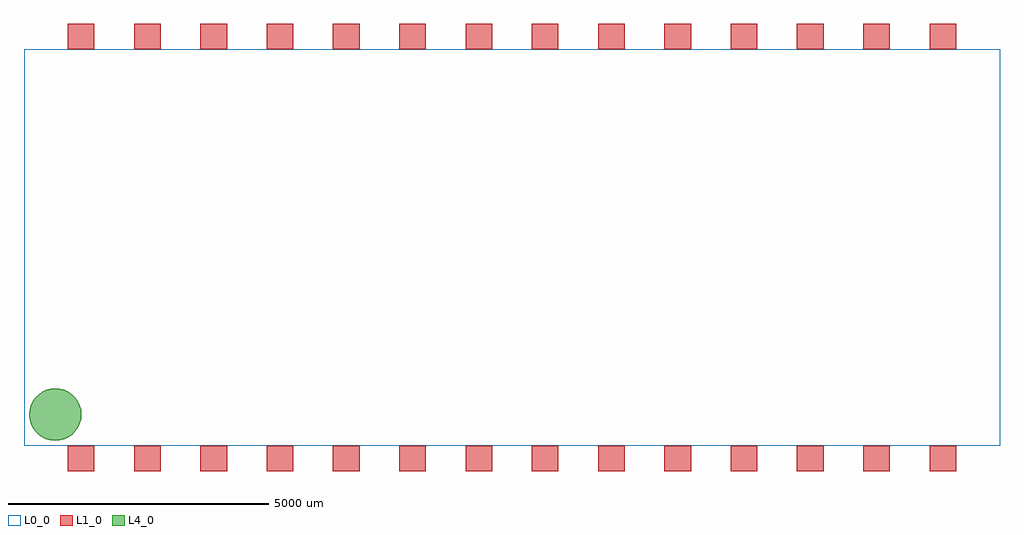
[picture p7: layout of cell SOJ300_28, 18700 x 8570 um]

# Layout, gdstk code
import gdstk
lib = gdstk.Library(unit=1e-6, precision=1e-09)
def R(c, l, rs):  # rectangles x0, y0, x1, y1
    for r in rs: c.add(gdstk.rectangle(r[:2], r[2:], *l))
def A(c, l, x, y, w, h, nx, ny, dx, dy):  # array of equal rectangles
    R(c, l, [(x+i*dx, y+j*dy, x+i*dx+w, y+j*dy+h) for i in range(nx) for j in range(ny)])
def P(c, l, *ps):  # polygons
    for p in ps: c.add(gdstk.Polygon(p, *l))
L0_0 = (0, 0)
L1_0 = (1, 0)
L4_0 = (4, 0)
L99_1 = (99, 1)
L99_2 = (99, 2)
L99_3 = (99, 3)
L99_4 = (99, 4)
L99_5 = (99, 5)
L99_6 = (99, 6)
L99_7 = (99, 7)
L99_8 = (99, 8)
L99_9 = (99, 9)
L99_10 = (99, 10)
L99_11 = (99, 11)
L99_12 = (99, 12)
L99_13 = (99, 13)
L99_14 = (99, 14)
L99_15 = (99, 15)
L99_16 = (99, 16)
L99_17 = (99, 17)
L99_18 = (99, 18)
L99_19 = (99, 19)
L99_20 = (99, 20)
L99_21 = (99, 21)
L99_22 = (99, 22)
L99_23 = (99, 23)
L99_24 = (99, 24)
L99_25 = (99, 25)
L99_26 = (99, 26)
L99_27 = (99, 27)
L99_28 = (99, 28)

soj300_28 = lib.new_cell('SOJ300_28')
R(soj300_28, L0_0, [(0,0,18700,7600)])
A(soj300_28, L1_0, 840, -485, 510, 485, 14, 2, 1270, 8085)
P(soj300_28, L4_0, [(1100,600),(1092.404,513.176),(1069.846,428.99),(1033.013,350),(983.022,278.606),(921.394,216.978),(850,166.987),(771.01,130.154),(686.824,107.596),(600,100),(513.176,107.596),(428.99,130.154),(350,166.987),(278.606,216.978),(216.978,278.606),(166.987,350),(130.154,428.99),(107.596,513.176),(100,600),(107.596,686.824),(130.154,771.01),(166.987,850),(216.978,921.394),(278.606,983.022),(350,1033.013),(428.99,1069.846),(513.176,1092.404),(600,1100),(686.824,1092.404),(771.01,1069.846),(850,1033.013),(921.394,983.022),(983.022,921.394),(1033.013,850),(1069.846,771.01),(1092.404,686.824)])
soj300_28.add(gdstk.FlexPath([(1350,0),(840,0)], 0, ends="round", simple_path=True, layer=99, datatype=1))  # L99_1
soj300_28.add(gdstk.FlexPath([(2620,0),(2110,0)], 0, ends="round", simple_path=True, layer=99, datatype=2))  # L99_2
soj300_28.add(gdstk.FlexPath([(3890,0),(3380,0)], 0, ends="round", simple_path=True, layer=99, datatype=3))  # L99_3
soj300_28.add(gdstk.FlexPath([(5160,0),(4650,0)], 0, ends="round", simple_path=True, layer=99, datatype=4))  # L99_4
soj300_28.add(gdstk.FlexPath([(6430,0),(5920,0)], 0, ends="round", simple_path=True, layer=99, datatype=5))  # L99_5
soj300_28.add(gdstk.FlexPath([(7700,0),(7190,0)], 0, ends="round", simple_path=True, layer=99, datatype=6))  # L99_6
soj300_28.add(gdstk.FlexPath([(8970,0),(8460,0)], 0, ends="round", simple_path=True, layer=99, datatype=7))  # L99_7
soj300_28.add(gdstk.FlexPath([(10240,0),(9730,0)], 0, ends="round", simple_path=True, layer=99, datatype=8))  # L99_8
soj300_28.add(gdstk.FlexPath([(11510,0),(11000,0)], 0, ends="round", simple_path=True, layer=99, datatype=9))  # L99_9
soj300_28.add(gdstk.FlexPath([(12780,0),(12270,0)], 0, ends="round", simple_path=True, layer=99, datatype=10))  # L99_10
soj300_28.add(gdstk.FlexPath([(14050,0),(13540,0)], 0, ends="round", simple_path=True, layer=99, datatype=11))  # L99_11
soj300_28.add(gdstk.FlexPath([(15320,0),(14810,0)], 0, ends="round", simple_path=True, layer=99, datatype=12))  # L99_12
soj300_28.add(gdstk.FlexPath([(16590,0),(16080,0)], 0, ends="round", simple_path=True, layer=99, datatype=13))  # L99_13
soj300_28.add(gdstk.FlexPath([(17860,0),(17350,0)], 0, ends="round", simple_path=True, layer=99, datatype=14))  # L99_14
soj300_28.add(gdstk.FlexPath([(840,7600),(1350,7600)], 0, ends="round", simple_path=True, layer=99, datatype=28))  # L99_28
soj300_28.add(gdstk.FlexPath([(2110,7600),(2620,7600)], 0, ends="round", simple_path=True, layer=99, datatype=27))  # L99_27
soj300_28.add(gdstk.FlexPath([(3380,7600),(3890,7600)], 0, ends="round", simple_path=True, layer=99, datatype=26))  # L99_26
soj300_28.add(gdstk.FlexPath([(4650,7600),(5160,7600)], 0, ends="round", simple_path=True, layer=99, datatype=25))  # L99_25
soj300_28.add(gdstk.FlexPath([(5920,7600),(6430,7600)], 0, ends="round", simple_path=True, layer=99, datatype=24))  # L99_24
soj300_28.add(gdstk.FlexPath([(7190,7600),(7700,7600)], 0, ends="round", simple_path=True, layer=99, datatype=23))  # L99_23
soj300_28.add(gdstk.FlexPath([(8460,7600),(8970,7600)], 0, ends="round", simple_path=True, layer=99, datatype=22))  # L99_22
soj300_28.add(gdstk.FlexPath([(9730,7600),(10240,7600)], 0, ends="round", simple_path=True, layer=99, datatype=21))  # L99_21
soj300_28.add(gdstk.FlexPath([(11000,7600),(11510,7600)], 0, ends="round", simple_path=True, layer=99, datatype=20))  # L99_20
soj300_28.add(gdstk.FlexPath([(12270,7600),(12780,7600)], 0, ends="round", simple_path=True, layer=99, datatype=19))  # L99_19
soj300_28.add(gdstk.FlexPath([(13540,7600),(14050,7600)], 0, ends="round", simple_path=True, layer=99, datatype=18))  # L99_18
soj300_28.add(gdstk.FlexPath([(14810,7600),(15320,7600)], 0, ends="round", simple_path=True, layer=99, datatype=17))  # L99_17
soj300_28.add(gdstk.FlexPath([(16080,7600),(16590,7600)], 0, ends="round", simple_path=True, layer=99, datatype=16))  # L99_16
soj300_28.add(gdstk.FlexPath([(17350,7600),(17860,7600)], 0, ends="round", simple_path=True, layer=99, datatype=15))  # L99_15

lib.write_gds('SOJ300_28.gds')
